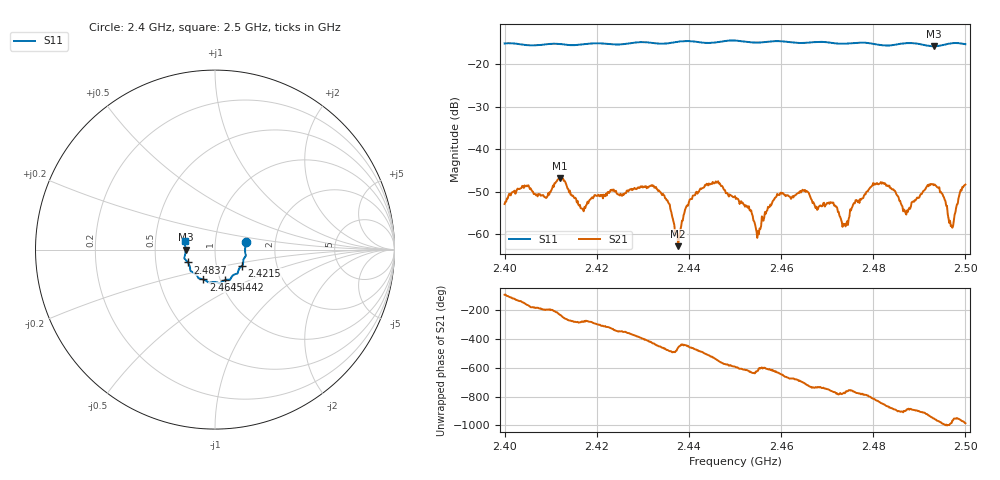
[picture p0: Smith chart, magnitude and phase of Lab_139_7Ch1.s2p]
# Hz S RI R 50
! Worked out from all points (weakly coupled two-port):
!   601 points, 2.4 GHz to 2.5 GHz, reference 50 ohm
!   highest |S21| = -46.75 dB at 2.412 GHz (marker M1); lowest = -62.8 dB at 2.4377 GHz (marker M2)
!   lowest |S11| = -15.7 dB at 2.4932 GHz (marker M3), VSWR 1.39, Z = 36 - j0.0552 ohm
!   |S11| at or under -10 dB: start of sweep to end of sweep
!   S12 and S22 are empty: the file has one direction only
!   S11 on the Smith chart (normalised r, x): 2.4 GHz: 1.41, +0.12; 2.4215 GHz: 1.33, -0.25; 2.4442 GHz: 1.05, -0.37; 2.4645 GHz: 0.83, -0.29; 2.4837 GHz: 0.73, -0.11; 2.5 GHz: 0.71, +0.07
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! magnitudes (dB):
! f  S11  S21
! 2.4 GHz  -15.1  -52.9
! 2.412 GHz  -15.2  -46.8
! 2.4167 GHz  -15.3  -53.9
! 2.4215 GHz  -15.1  -50.7
! 2.4333 GHz  -15.1  -49.9
! 2.4377 GHz  -14.7  -62.8
! 2.4398 GHz  -14.5  -53.3
! 2.4442 GHz  -15.0  -48.5
! 2.45 GHz  -14.4  -51.0
! 2.455 GHz  -14.9  -59.2
! 2.459 GHz  -14.5  -51.1
! 2.4645 GHz  -15.0  -49.8
! 2.4667 GHz  -14.8  -52.0
! 2.4712 GHz  -15.0  -52.5
! 2.4738 GHz  -15.1  -57.6
! 2.4798 GHz  -15.1  -48.5
! 2.4833 GHz  -15.6  -48.7
! 2.4837 GHz  -15.5  -49.1
! 2.487 GHz  -15.0  -54.9
! 2.4932 GHz  -15.7  -48.5
! 2.497 GHz  -15.0  -58.0
! 2.5 GHz  -15.2  -48.3
